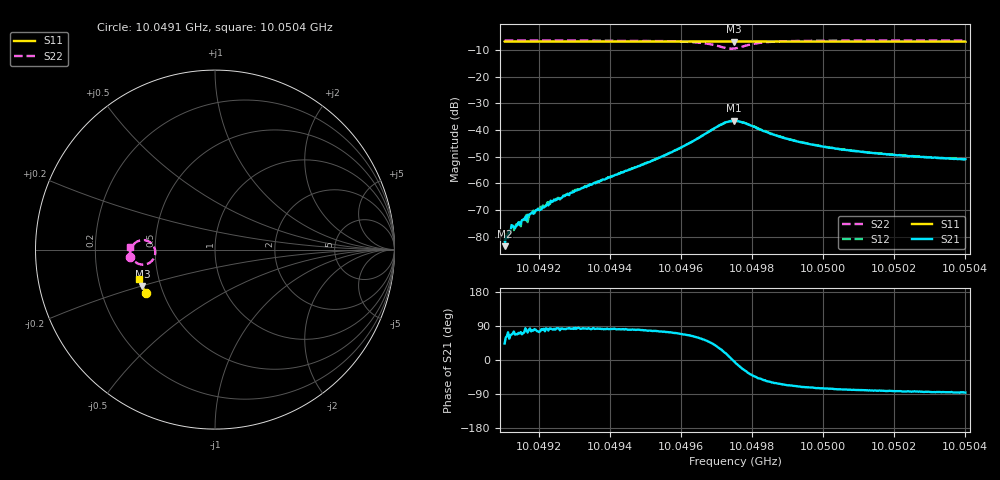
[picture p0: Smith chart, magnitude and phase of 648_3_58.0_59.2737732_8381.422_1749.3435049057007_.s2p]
#  HZ  S  RI  R  50.00
! Rohde & Schwarz Vector Network Analyzer
! Rohde-Schwarz,ZNB20-2Port,1311601062101988,3.16
! Created: UTC 3/21/2024, 1:19:21 AM
! freq[Hz]  re:S11  im:S11  re:S21  im:S21  re:S12  im:S12  re:S22  im:S22
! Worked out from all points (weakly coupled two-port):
!   401 points, 10.0491 GHz to 10.0504 GHz, reference 50 ohm
!   highest |S21| = -36.59 dB at 10.04975 GHz (marker M1); lowest = -83.6 dB at 10.0491 GHz (marker M2)
!   lowest |S11| = -6.9 dB at 10.04975 GHz (marker M3), VSWR 2.65, Z = 19.8 - j10.1 ohm
!   |S11| at or under -10 dB: nowhere
!   |S22| runs from -9.6 to -6.5 dB; largest |S21 - S12| = 0.0014
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1.0049103e10  -0.3861 -0.2404  4.8e-05 4.53e-05  4.07e-05 6.77e-05  -0.4736 -0.0417
1.0049112e10  -0.3864 -0.2398  2.71e-05 8.87e-05  7.02e-05 9.77e-05  -0.4736 -0.0407
1.0049122e10  -0.3867 -0.2392  6.33e-05 0.000151  2.59e-05 0.000143  -0.4736 -0.04
1.0049148e10  -0.3875 -0.2377  4.81e-05 0.000165  8.78e-06 0.000156  -0.4737 -0.0375
1.0049158e10  -0.3879 -0.2371  6.15e-05 0.0002  4.21e-05 0.000203  -0.4736 -0.0368
1.0049174e10  -0.3885 -0.2362  3.1e-05 0.00026  4.49e-05 0.000266  -0.4736 -0.0353
1.0049177e10  -0.3885 -0.2361  6.82e-05 0.000263  1.84e-05 0.000262  -0.4736 -0.0348
1.0049219e10  -0.3899 -0.2335  4.11e-05 0.000374  3.62e-05 0.000374  -0.4735 -0.031
1.0049239e10  -0.3905 -0.2325  7.82e-05 0.00045  4.51e-05 0.000462  -0.4736 -0.0291
1.004932e10  -0.3931 -0.2278  0.0001 0.000809  4.85e-05 0.000794  -0.4728 -0.0204
1.0049537e10  -0.3998 -0.2148  0.00075 0.00291  0.000578 0.00297  -0.4638 0.0132
1.0049625e10  -0.4022 -0.2094  0.00245 0.00517  0.00217 0.00534  -0.4438 0.0383
1.004969e10  -0.4035 -0.2052  0.00772 0.00696  0.00724 0.00745  -0.3909 0.0523
1.0049722e10  -0.4037 -0.2034  0.0129 0.00461  0.0124 0.00536  -0.3458 0.0251
1.0049748e10  -0.4041 -0.2025  0.0148 -0.000776  0.0148 0.000291  -0.3337 -0.0279
1.0049751e10  -0.4043 -0.2024  0.0145 -0.00149  0.0147 -0.000495  -0.3354 -0.0347
1.0049784e10  -0.4054 -0.2011  0.0112 -0.00659  0.0117 -0.00607  -0.3758 -0.0791
1.0049832e10  -0.4075 -0.1983  0.00565 -0.00762  0.00631 -0.00723  -0.4299 -0.0778
1.0049897e10  -0.4094 -0.1944  0.00273 -0.00629  0.00322 -0.0061  -0.4574 -0.0558
1.0049969e10  -0.4114 -0.19  0.00158 -0.00505  0.00186 -0.00499  -0.4677 -0.0378
1.0050186e10  -0.4171 -0.1767  0.000526 -0.00342  0.000698 -0.00341  -0.4748 -0.00588
1.00504e10  -0.4218 -0.1636  0.000201 -0.00283  0.000358 -0.00281  -0.4754 0.0146
